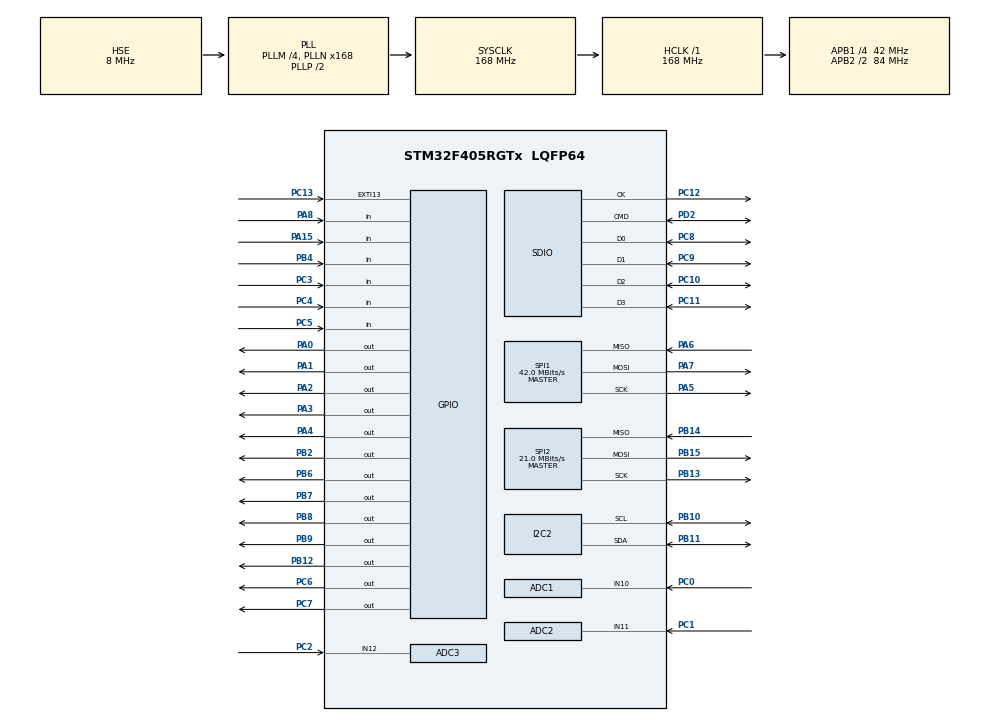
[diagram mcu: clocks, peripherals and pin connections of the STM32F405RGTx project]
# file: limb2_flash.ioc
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ADC1.Channel-0\#ChannelRegularConversion=ADC_CHANNEL_10
ADC1.NbrOfConversionFlag=1
ADC1.Rank-0\#ChannelRegularConversion=1
ADC1.SamplingTime-0\#ChannelRegularConversion=ADC_SAMPLETIME_3CYCLES
ADC1.master=1
ADC2.Channel-0\#ChannelRegularConversion=ADC_CHANNEL_11
ADC2.NbrOfConversionFlag=1
ADC2.Rank-0\#ChannelRegularConversion=1
ADC2.SamplingTime-0\#ChannelRegularConversion=ADC_SAMPLETIME_3CYCLES
ADC3.Channel-0\#ChannelRegularConversion=ADC_CHANNEL_12
ADC3.NbrOfConversion=1
ADC3.NbrOfConversionFlag=1
ADC3.Rank-0\#ChannelRegularConversion=1
ADC3.SamplingTime-0\#ChannelRegularConversion=ADC_SAMPLETIME_3CYCLES
Dma.Request0=SDIO
Dma.SDIO.0.Direction=DMA_PERIPH_TO_MEMORY
Dma.SDIO.0.FIFOMode=DMA_FIFOMODE_ENABLE
Dma.SDIO.0.FIFOThreshold=DMA_FIFO_THRESHOLD_FULL
Dma.SDIO.0.Instance=DMA2_Stream3
Dma.SDIO.0.MemBurst=DMA_MBURST_INC4
Dma.SDIO.0.MemDataAlignment=DMA_MDATAALIGN_WORD
Dma.SDIO.0.MemInc=DMA_MINC_ENABLE
Dma.SDIO.0.Mode=DMA_PFCTRL
Dma.SDIO.0.PeriphBurst=DMA_PBURST_INC4
Dma.SDIO.0.PeriphDataAlignment=DMA_PDATAALIGN_WORD
Dma.SDIO.0.PeriphInc=DMA_PINC_DISABLE
Dma.SDIO.0.Priority=DMA_PRIORITY_LOW
FATFS.BSP.number=1
FATFS._USE_FASTSEEK=0
FATFS0.BSP.STBoard=false
FATFS0.BSP.api=Unknown
FATFS0.BSP.i2caddr=0
FATFS0.BSP.instance=PC3
FATFS0.BSP.ip=GPIO
FATFS0.BSP.mode=Input
FATFS0.BSP.name=Detect_SDIO
FATFS0.BSP.solution=PC3
I2C2.I2C_Mode=I2C_Fast
Mcu.Family=STM32F4
Mcu.Name=STM32F405RGTx
Mcu.Package=LQFP64
NVIC.DMA2_Stream3_IRQn=true\:0\:0\:false\:false\:true\:false\:true
NVIC.EXTI15_10_IRQn=true\:0\:0\:false\:false\:true\:true\:true
NVIC.PriorityGroup=NVIC_PRIORITYGROUP_4
NVIC.SDIO_IRQn=true\:0\:0\:false\:false\:true\:true\:true
NVIC.TIM6_DAC_IRQn=true\:0\:0\:false\:false\:true\:true\:true
NVIC.TIM7_IRQn=true\:0\:0\:false\:false\:true\:true\:true
NVIC.TIM8_TRG_COM_TIM14_IRQn=true\:0\:0\:false\:false\:true\:true\:true
PA0-WKUP.Signal=GPIO_Output
PA1.Signal=GPIO_Output
PA13.Mode=Serial_Wire
PA13.Signal=SYS_JTMS-SWDIO
PA14.Mode=Serial_Wire
PA14.Signal=SYS_JTCK-SWCLK
PA15.Signal=GPIO_Input
PA2.Signal=GPIO_Output
PA3.Signal=GPIO_Output
PA4.GPIO_PuPd=GPIO_PULLUP
PA4.Signal=GPIO_Output
PA5.Mode=Full_Duplex_Master
PA5.Signal=SPI1_SCK
PA6.Mode=Full_Duplex_Master
PA6.Signal=SPI1_MISO
PA7.Mode=Full_Duplex_Master
PA7.Signal=SPI1_MOSI
PA8.Signal=GPIO_Input
PB10.Mode=I2C
PB10.Signal=I2C2_SCL
PB11.Mode=I2C
PB11.Signal=I2C2_SDA
PB12.Signal=GPIO_Output
PB13.Mode=Full_Duplex_Master
PB13.Signal=SPI2_SCK
PB14.Mode=Full_Duplex_Master
PB14.Signal=SPI2_MISO
PB15.Mode=Full_Duplex_Master
PB15.Signal=SPI2_MOSI
PB2.Signal=GPIO_Output
PB4.Signal=GPIO_Input
PB6.Signal=GPIO_Output
PB7.Signal=GPIO_Output
PB8.Signal=GPIO_Output
PB9.Signal=GPIO_Output
PC0.Signal=ADCx_IN10
PC1.Signal=ADCx_IN11
PC10.Mode=SD_4_bits_Wide_bus
PC10.Signal=SDIO_D2
PC11.Mode=SD_4_bits_Wide_bus
PC11.Signal=SDIO_D3
PC12.Mode=SD_4_bits_Wide_bus
PC12.Signal=SDIO_CK
PC13-ANTI_TAMP.GPIO_ModeDefaultEXTI=GPIO_MODE_IT_FALLING
PC13-ANTI_TAMP.Signal=GPXTI13
PC14-OSC32_IN.Mode=LSE-External-Oscillator
PC14-OSC32_IN.Signal=RCC_OSC32_IN
PC15-OSC32_OUT.Mode=LSE-External-Oscillator
PC15-OSC32_OUT.Signal=RCC_OSC32_OUT
PC2.Signal=ADCx_IN12
PC3.Signal=GPIO_Input
PC4.Signal=GPIO_Input
PC5.Signal=GPIO_Input
PC6.Signal=GPIO_Output
PC7.Signal=GPIO_Output
PC8.Mode=SD_4_bits_Wide_bus
PC8.Signal=SDIO_D0
PC9.Mode=SD_4_bits_Wide_bus
PC9.Signal=SDIO_D1
PD2.Mode=SD_4_bits_Wide_bus
PD2.Signal=SDIO_CMD
PH0-OSC_IN.Mode=HSE-External-Oscillator
PH0-OSC_IN.Signal=RCC_OSC_IN
PH1-OSC_OUT.Mode=HSE-External-Oscillator
PH1-OSC_OUT.Signal=RCC_OSC_OUT
ProjectManager.HeapSize=0x200
ProjectManager.StackSize=0x400
ProjectManager.TargetToolchain=STM32CubeIDE
RCC.48MHZClocksFreq_Value=48000000
RCC.AHBFreq_Value=168000000
RCC.APB1CLKDivider=RCC_HCLK_DIV4
RCC.APB1Freq_Value=42000000
RCC.APB1TimFreq_Value=84000000
RCC.APB2CLKDivider=RCC_HCLK_DIV2
RCC.APB2Freq_Value=84000000
RCC.APB2TimFreq_Value=168000000
RCC.CortexFreq_Value=168000000
RCC.HCLKFreq_Value=168000000
RCC.HSE_VALUE=8000000
RCC.HSI_VALUE=16000000
RCC.PLLM=4
RCC.PLLN=168
RCC.PLLQ=7
RCC.PLLSourceVirtual=RCC_PLLSOURCE_HSE
RCC.SYSCLKFreq_VALUE=168000000
RCC.SYSCLKSource=RCC_SYSCLKSOURCE_PLLCLK
RCC.VCOOutputFreq_Value=336000000
SDIO.ClockDiv=2
SDIO.HardwareFlowControl=SDIO_HARDWARE_FLOW_CONTROL_ENABLE
SH.ADCx_IN10.0=ADC1_IN10,IN10
SH.ADCx_IN11.0=ADC1_IN11
SH.ADCx_IN11.1=ADC2_IN11,IN11
SH.ADCx_IN12.0=ADC1_IN12
SH.ADCx_IN12.1=ADC3_IN12,IN12
SPI1.BaudRatePrescaler=SPI_BAUDRATEPRESCALER_2
SPI1.CalculateBaudRate=42.0 MBits/s
SPI1.Direction=SPI_DIRECTION_2LINES
SPI1.Mode=SPI_MODE_MASTER
SPI1.VirtualType=VM_MASTER
SPI2.BaudRatePrescaler=SPI_BAUDRATEPRESCALER_2
SPI2.CalculateBaudRate=21.0 MBits/s
SPI2.Direction=SPI_DIRECTION_2LINES
SPI2.Mode=SPI_MODE_MASTER
SPI2.VirtualType=VM_MASTER
TIM14.AutoReloadPreload=TIM_AUTORELOAD_PRELOAD_ENABLE
TIM14.Period=10499
TIM14.Prescaler=0
TIM6.AutoReloadPreload=TIM_AUTORELOAD_PRELOAD_ENABLE
TIM6.Period=2000
TIM6.Prescaler=83
TIM7.AutoReloadPreload=TIM_AUTORELOAD_PRELOAD_ENABLE
TIM7.Period=25000
TIM7.Prescaler=839
VP_FATFS_VS_SDIO.Mode=SDIO
VP_TIM14_VS_ClockSourceINT.Mode=Enable_Timer
VP_TIM6_VS_ClockSourceINT.Mode=Enable_Timer
VP_TIM7_VS_ClockSourceINT.Mode=Enable_Timer
board=custom

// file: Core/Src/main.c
/* USER CODE BEGIN Header */
/**
  ******************************************************************************
  * @file           : main.c
  * @brief          : Main program body
  ******************************************************************************
  * @attention
  *
  * <h2><center>&copy; Copyright (c) 2024 STMicroelectronics.
  * All rights reserved.</center></h2>
  *
  * This software component is licensed by ST under BSD 3-Clause license,
  * the "License"; You may not use this file except in compliance with the
  * License. You may obtain a copy of the License at:
  *                        opensource.org/licenses/BSD-3-Clause
  *
  ******************************************************************************
  */
/* USER CODE END Header */
#include "main.h"
#include "fatfs.h"

/* USER CODE BEGIN Includes */
#include "common.h"
#include "icm42670.h"
#include "files.h"
#include "w25q128.h"
#include <stdio.h>
#include <stdlib.h>
#include <string.h>
/* USER CODE END Includes */

ADC_HandleTypeDef hadc1;
ADC_HandleTypeDef hadc2;
ADC_HandleTypeDef hadc3;

I2C_HandleTypeDef hi2c2;

SD_HandleTypeDef hsd;
DMA_HandleTypeDef hdma_sdio;

SPI_HandleTypeDef hspi1;
SPI_HandleTypeDef hspi2;

TIM_HandleTypeDef htim6;
TIM_HandleTypeDef htim7;
TIM_HandleTypeDef htim14;

/* USER CODE BEGIN PV */
uint8_t board_version = 0;
__attribute__ ((aligned)) uint8_t flash_read_buf[W25Q128_PAGE_SIZE];
__attribute__ ((aligned)) uint8_t flash_write_buf[2][W25Q128_PAGE_SIZE];
__attribute__ ((aligned)) uint8_t csv_data_buf[CVS_DATA_SIZE_MAX];
int32_t cvs_data_len = 0;
PAGE_RAW *page_buf_read = NULL;
PAGE_RAW *page_buf_write = NULL;
uint32_t write_page_index = 0;
uint16_t file_index = 0;
W25Q128_T w25q128_info;
XYZ_INT16T xyz_accel_u, xyz_gyro_u, xyz_accel_l, xyz_gyro_l;

uint8_t motor_ctrl_input[2] = {0, 0};
/* USER CODE END PV */

void SystemClock_Config(void);
static void MX_GPIO_Init(void);
static void MX_ADC1_Init(void);
static void MX_I2C2_Init(void);
static void MX_SDIO_SD_Init(void);
static void MX_SPI1_Init(void);
static void MX_SPI2_Init(void);
static void MX_TIM7_Init(void);
static void MX_ADC2_Init(void);
static void MX_ADC3_Init(void);
static void MX_DMA_Init(void);
static void MX_TIM6_Init(void);
static void MX_TIM14_Init(void);

int main(void)
{
  /* USER CODE BEGIN 1 */
  set_state(NOT_READY);
  /* USER CODE END 1 */

  /* MCU Configuration--------------------------------------------------------*/

  /* Reset of all peripherals, Initializes the Flash interface and the Systick. */
  HAL_Init();

  /* Configure the system clock */
  SystemClock_Config();

  /* Initialize all configured peripherals */
  MX_GPIO_Init();
  MX_ADC1_Init();
  MX_I2C2_Init();
  MX_SDIO_SD_Init();
  MX_SPI1_Init();
  MX_SPI2_Init();
  MX_TIM7_Init();
  MX_ADC2_Init();
  MX_ADC3_Init();
  MX_DMA_Init();
  MX_FATFS_Init();
  MX_TIM6_Init();
  MX_TIM14_Init();
  /* USER CODE BEGIN 2 */
  HAL_TIM_Base_Start_IT(&htim6);
  HAL_TIM_Base_Start_IT(&htim7);
  w25q128_chip_deselect();

  uint8_t bufReadDiExp;
  if (tca9534Read(&hi2c2, &bufReadDiExp) != HAL_OK) {
    Error_Handler();
  }
  board_version = (bufReadDiExp & 0xE0) >> 5;
  set_sd_present(bufReadDiExp & 0x08);
  if (BSP_SD_IsDetected() == SD_NOT_PRESENT) {
    Error_Handler();
  }
  if(f_mount(&SDFatFS, (TCHAR const*)SDPath, 0) != FR_OK) {
    Error_Handler();
  }

  icm42670Init(&hi2c2, ICM42670U_DEFAULT_ADDRESS_SHIFTED);
  icm42670Init(&hi2c2, ICM42670L_DEFAULT_ADDRESS_SHIFTED);

  w25q128_init(&hspi2, &w25q128_info);
  if (w25q128_info.PageCount == 0) {
    Error_Handler();
  }
  /* USER CODE END 2 */

  /* Infinite loop */
  /* USER CODE BEGIN WHILE */
#define MOTOR_TEST_MODE 1
#ifdef MOTOR_TEST_MODE
  set_state(MOTOR_TEST);
#else
  w25q128_erase_chip(&hspi2);
  w25q128_wait_write_done(&hspi2);
  set_state(READY_IDLE);
#endif

  while (1)
  {
    /* USER CODE END WHILE */

    /* USER CODE BEGIN 3 */
    STATE state = check_state();
    switch (state) {
    case COLLECTING_DATA:
      page_buf_write = (PAGE_RAW*)flash_write_buf[write_page_index & 0x01];
      for (uint8_t record_index = 0; record_index < RECORD_PER_PAGE; record_index++) {
        wait_for_counter_changed();
        start_ADC(&hadc1, ADC_CHANNEL_10);  // PC1
        start_ADC(&hadc2, ADC_CHANNEL_11);  // PC2
        start_ADC(&hadc3, ADC_CHANNEL_12);  // PC3
        page_buf_write->data_raw_buffer[record_index].ad[0] = read_ADC(&hadc1);
        page_buf_write->data_raw_buffer[record_index].ad[1] = read_ADC(&hadc2);
        page_buf_write->data_raw_buffer[record_index].ad[2] = read_ADC(&hadc3);
        i2c_read_regs(&hi2c2, ICM42670U_DEFAULT_ADDRESS_SHIFTED, ICM42670_REG_ACCEL_DATA_X1, 6,
            page_buf_write->data_raw_buffer[record_index].accel_u);
        i2c_read_regs(&hi2c2, ICM42670U_DEFAULT_ADDRESS_SHIFTED, ICM42670_REG_GYRO_DATA_X1, 6,
            page_buf_write->data_raw_buffer[record_index].gyro_u);
        i2c_read_regs(&hi2c2, ICM42670L_DEFAULT_ADDRESS_SHIFTED, ICM42670_REG_ACCEL_DATA_X1, 6,
            page_buf_write->data_raw_buffer[record_index].accel_l);
        i2c_read_regs(&hi2c2, ICM42670L_DEFAULT_ADDRESS_SHIFTED, ICM42670_REG_GYRO_DATA_X1, 6,
            page_buf_write->data_raw_buffer[record_index].gyro_l);
      }
      w25q128_wait_write_done(&hspi2);
      w25q128_write(&hspi2, write_page_index << PAGE_ADDRESS_SHIFT, (uint8_t *)page_buf_write, W25Q128_PAGE_SIZE);
      ++write_page_index;
      if (write_page_index >= w25q128_info.PageCount) {
        set_state(SAVEING_TO_FILE);
      }
      break;
    case SAVEING_TO_FILE:
      file_index = get_file_index();
      if (file_index == 0) {
        set_state(NOT_READY);
        Error_Handler();
      }
      char data_file_name[16];
      snprintf(data_file_name, 15, "dr%06d.csv", file_index);
      if(f_open(&SDFile, data_file_name, FA_CREATE_ALWAYS | FA_WRITE) != FR_OK)
      {
        set_state(NOT_READY);
        Error_Handler();
      } else {
        cvs_data_len = snprintf(csv_data_buf, CVS_DATA_SIZE_MAX, "file,%d,,page,%ld,max,%ld,,records,%ld\r\n",
            file_index, write_page_index, w25q128_info.PageCount, write_page_index * RECORD_PER_PAGE);
        write_data_record(csv_data_buf, cvs_data_len);
        w25q128_wait_write_done(&hspi2);
        for (uint32_t read_page_index = 0; read_page_index < write_page_index; read_page_index++) {
          w25q128_read(&hspi2, read_page_index << PAGE_ADDRESS_SHIFT, flash_read_buf, W25Q128_PAGE_SIZE);
          page_buf_read = (PAGE_RAW*)flash_read_buf;
          for (uint8_t record_index = 0; record_index < RECORD_PER_PAGE; record_index++) {
            mpu_raw_to_xyz(page_buf_read->data_raw_buffer[record_index].accel_u, &xyz_accel_u);
            mpu_raw_to_xyz(page_buf_read->data_raw_buffer[record_index].gyro_u, &xyz_gyro_u);
            mpu_raw_to_xyz(page_buf_read->data_raw_buffer[record_index].accel_l, &xyz_accel_l);
            mpu_raw_to_xyz(page_buf_read->data_raw_buffer[record_index].gyro_l, &xyz_gyro_l);

            cvs_data_len = snprintf(csv_data_buf, CVS_DATA_SIZE_MAX,
            /*
             * gyro lower z -----------------------------------------
             * gyro lower y --------------------------------------   |
             * gyro lower x -----------------------------------   |  |
             * accel lower z -------------------------------   |  |  |
             * accel lower y ----------------------------   |  |  |  |
             * accel lower x -------------------------   |  |  |  |  |
             * gyro upper z -----------------------   |  |  |  |  |  |
             * gyro upper y --------------------   |  |  |  |  |  |  |
             * gyro upper x -----------------   |  |  |  |  |  |  |  |
             * accel upper z -------------   |  |  |  |  |  |  |  |  |
             * accel upper y ----------   |  |  |  |  |  |  |  |  |  |
             * accel upper x -------   |  |  |  |  |  |  |  |  |  |  |
             *   a1 a2 a3 a4 a5 a6  |  |  |  |  |  |  |  |  |  |  |  |
             *    |  |  |  |  |  |  |  |  |  |  |  |  |  |  |  |  |  |       */
                "%d,%d,%d,%d,%d,%d,%d,%d,%d,%d,%d,%d,%d,%d,%d,%d,%d,%d\r\n",
                page_buf_read->data_raw_buffer[record_index].ad[0],
                page_buf_read->data_raw_buffer[record_index].ad[1],
                page_buf_read->data_raw_buffer[record_index].ad[2],
                page_buf_read->data_raw_buffer[record_index].ad[3],
                page_buf_read->data_raw_buffer[record_index].ad[4],
                page_buf_read->data_raw_buffer[record_index].ad[5],
                xyz_accel_u.x, xyz_accel_u.y, xyz_accel_u.z, xyz_gyro_u.x, xyz_gyro_u.y, xyz_gyro_u.z,
                xyz_accel_l.x, xyz_accel_l.y, xyz_accel_l.z, xyz_gyro_l.x, xyz_gyro_l.y, xyz_gyro_l.z);
            write_data_record(csv_data_buf, cvs_data_len);
          }
        }
        f_close(&SDFile);
        w25q128_erase_chip(&hspi2);
        w25q128_wait_write_done(&hspi2);
        write_page_index = 0;
        set_state(READY_IDLE);
      }
      break;
    case MOTOR_TEST:
      switch (read_motor_cmd()) {
      case START:
        vm_en(GPIO_PIN_SET);
        if (tca9535Read(&hi2c2, motor_ctrl_input) == HAL_OK) {
          uint16_t pwm_timer_counter = cal_pwm_timer_counter(motor_ctrl_input[0] & 0x0F);
          __HAL_TIM_SET_AUTORELOAD(&htim14, pwm_timer_counter - 1);
          decide_motor_state((motor_ctrl_input[0] & 0xF0) >> 4, (motor_ctrl_input[1] & 0xF0) >> 4, (motor_ctrl_input[1] & 0x0F));
          motor_ctrl_str(0);
          motor_ctrl_ben(0);
          HAL_TIM_Base_Start_IT(&htim14);
        }
        if (tca9534Read(&hi2c2, &bufReadDiExp) == HAL_OK) {
          write_LEDGRN(bufReadDiExp & 0x04 ? GPIO_PIN_SET : GPIO_PIN_RESET); // VM good
        }
        break;
      case STOP:
        HAL_TIM_Base_Stop_IT(&htim14);
        motor_stop();
        vm_en(GPIO_PIN_RESET);
        if (tca9534Read(&hi2c2, &bufReadDiExp) == HAL_OK) {
          write_LEDGRN(bufReadDiExp & 0x04 ? GPIO_PIN_SET : GPIO_PIN_RESET); // VM good
        }
        break;
      case NO_CMD:
      default:
        break;
      }
      break;
    case NOT_READY:
    case READY_IDLE:
    default:
      break;
    }
  }
  /* USER CODE END 3 */
}

void SystemClock_Config(void)
{
  RCC_OscInitTypeDef RCC_OscInitStruct = {0};
  RCC_ClkInitTypeDef RCC_ClkInitStruct = {0};

  /** Configure the main internal regulator output voltage
  */
  __HAL_RCC_PWR_CLK_ENABLE();
  __HAL_PWR_VOLTAGESCALING_CONFIG(PWR_REGULATOR_VOLTAGE_SCALE1);
  /** Initializes the RCC Oscillators according to the specified parameters
  * in the RCC_OscInitTypeDef structure.
  */
  RCC_OscInitStruct.OscillatorType = RCC_OSCILLATORTYPE_HSE;
  RCC_OscInitStruct.HSEState = RCC_HSE_ON;
  RCC_OscInitStruct.PLL.PLLState = RCC_PLL_ON;
  RCC_OscInitStruct.PLL.PLLSource = RCC_PLLSOURCE_HSE;
  RCC_OscInitStruct.PLL.PLLM = 4;
  RCC_OscInitStruct.PLL.PLLN = 168;
  RCC_OscInitStruct.PLL.PLLP = RCC_PLLP_DIV2;
  RCC_OscInitStruct.PLL.PLLQ = 7;
  if (HAL_RCC_OscConfig(&RCC_OscInitStruct) != HAL_OK)
  {
    Error_Handler();
  }
  /** Initializes the CPU, AHB and APB buses clocks
  */
  RCC_ClkInitStruct.ClockType = RCC_CLOCKTYPE_HCLK|RCC_CLOCKTYPE_SYSCLK
                              |RCC_CLOCKTYPE_PCLK1|RCC_CLOCKTYPE_PCLK2;
  RCC_ClkInitStruct.SYSCLKSource = RCC_SYSCLKSOURCE_PLLCLK;
  RCC_ClkInitStruct.AHBCLKDivider = RCC_SYSCLK_DIV1;
  RCC_ClkInitStruct.APB1CLKDivider = RCC_HCLK_DIV4;
  RCC_ClkInitStruct.APB2CLKDivider = RCC_HCLK_DIV2;

  if (HAL_RCC_ClockConfig(&RCC_ClkInitStruct, FLASH_LATENCY_5) != HAL_OK)
  {
    Error_Handler();
  }
}

static void MX_ADC1_Init(void)
{

  ADC_ChannelConfTypeDef sConfig = {0};

  /** Configure the global features of the ADC (Clock, Resolution, Data Alignment and number of conversion)
  */
  hadc1.Instance = ADC1;
  hadc1.Init.ClockPrescaler = ADC_CLOCK_SYNC_PCLK_DIV4;
  hadc1.Init.Resolution = ADC_RESOLUTION_12B;
  hadc1.Init.ScanConvMode = DISABLE;
  hadc1.Init.ContinuousConvMode = DISABLE;
  hadc1.Init.DiscontinuousConvMode = DISABLE;
  hadc1.Init.ExternalTrigConvEdge = ADC_EXTERNALTRIGCONVEDGE_NONE;
  hadc1.Init.ExternalTrigConv = ADC_SOFTWARE_START;
  hadc1.Init.DataAlign = ADC_DATAALIGN_RIGHT;
  hadc1.Init.NbrOfConversion = 1;
  hadc1.Init.DMAContinuousRequests = DISABLE;
  hadc1.Init.EOCSelection = ADC_EOC_SINGLE_CONV;
  if (HAL_ADC_Init(&hadc1) != HAL_OK)
  {
    Error_Handler();
  }
  /** Configure for the selected ADC regular channel its corresponding rank in the sequencer and its sample time.
  */
  sConfig.Channel = ADC_CHANNEL_10;
  sConfig.Rank = 1;
  sConfig.SamplingTime = ADC_SAMPLETIME_3CYCLES;
  if (HAL_ADC_ConfigChannel(&hadc1, &sConfig) != HAL_OK)
  {
    Error_Handler();
  }

}

static void MX_ADC2_Init(void)
{

  ADC_ChannelConfTypeDef sConfig = {0};

  /** Configure the global features of the ADC (Clock, Resolution, Data Alignment and number of conversion)
  */
  hadc2.Instance = ADC2;
  hadc2.Init.ClockPrescaler = ADC_CLOCK_SYNC_PCLK_DIV4;
  hadc2.Init.Resolution = ADC_RESOLUTION_12B;
  hadc2.Init.ScanConvMode = DISABLE;
  hadc2.Init.ContinuousConvMode = DISABLE;
  hadc2.Init.DiscontinuousConvMode = DISABLE;
  hadc2.Init.ExternalTrigConvEdge = ADC_EXTERNALTRIGCONVEDGE_NONE;
  hadc2.Init.ExternalTrigConv = ADC_SOFTWARE_START;
  hadc2.Init.DataAlign = ADC_DATAALIGN_RIGHT;
  hadc2.Init.NbrOfConversion = 1;
  hadc2.Init.DMAContinuousRequests = DISABLE;
  hadc2.Init.EOCSelection = ADC_EOC_SINGLE_CONV;
  if (HAL_ADC_Init(&hadc2) != HAL_OK)
  {
    Error_Handler();
  }
  /** Configure for the selected ADC regular channel its corresponding rank in the sequencer and its sample time.
  */
  sConfig.Channel = ADC_CHANNEL_11;
  sConfig.Rank = 1;
  sConfig.SamplingTime = ADC_SAMPLETIME_3CYCLES;
  if (HAL_ADC_ConfigChannel(&hadc2, &sConfig) != HAL_OK)
  {
    Error_Handler();
  }

}

static void MX_ADC3_Init(void)
{

  ADC_ChannelConfTypeDef sConfig = {0};

  /** Configure the global features of the ADC (Clock, Resolution, Data Alignment and number of conversion)
  */
  hadc3.Instance = ADC3;
  hadc3.Init.ClockPrescaler = ADC_CLOCK_SYNC_PCLK_DIV4;
  hadc3.Init.Resolution = ADC_RESOLUTION_12B;
  hadc3.Init.ScanConvMode = DISABLE;
  hadc3.Init.ContinuousConvMode = DISABLE;
  hadc3.Init.DiscontinuousConvMode = DISABLE;
  hadc3.Init.ExternalTrigConvEdge = ADC_EXTERNALTRIGCONVEDGE_NONE;
  hadc3.Init.ExternalTrigConv = ADC_SOFTWARE_START;
  hadc3.Init.DataAlign = ADC_DATAALIGN_RIGHT;
  hadc3.Init.NbrOfConversion = 1;
  hadc3.Init.DMAContinuousRequests = DISABLE;
  hadc3.Init.EOCSelection = ADC_EOC_SINGLE_CONV;
  if (HAL_ADC_Init(&hadc3) != HAL_OK)
  {
    Error_Handler();
  }
  /** Configure for the selected ADC regular channel its corresponding rank in the sequencer and its sample time.
  */
  sConfig.Channel = ADC_CHANNEL_12;
  sConfig.Rank = 1;
  sConfig.SamplingTime = ADC_SAMPLETIME_3CYCLES;
  if (HAL_ADC_ConfigChannel(&hadc3, &sConfig) != HAL_OK)
  {
    Error_Handler();
  }

}

static void MX_I2C2_Init(void)
{

  hi2c2.Instance = I2C2;
  hi2c2.Init.ClockSpeed = 400000;
  hi2c2.Init.DutyCycle = I2C_DUTYCYCLE_2;
  hi2c2.Init.OwnAddress1 = 0;
  hi2c2.Init.AddressingMode = I2C_ADDRESSINGMODE_7BIT;
  hi2c2.Init.DualAddressMode = I2C_DUALADDRESS_DISABLE;
  hi2c2.Init.OwnAddress2 = 0;
  hi2c2.Init.GeneralCallMode = I2C_GENERALCALL_DISABLE;
  hi2c2.Init.NoStretchMode = I2C_NOSTRETCH_DISABLE;
  if (HAL_I2C_Init(&hi2c2) != HAL_OK)
  {
    Error_Handler();
  }

}

static void MX_SDIO_SD_Init(void)
{

  hsd.Instance = SDIO;
  hsd.Init.ClockEdge = SDIO_CLOCK_EDGE_RISING;
  hsd.Init.ClockBypass = SDIO_CLOCK_BYPASS_DISABLE;
  hsd.Init.ClockPowerSave = SDIO_CLOCK_POWER_SAVE_DISABLE;
  hsd.Init.BusWide = SDIO_BUS_WIDE_1B;
  hsd.Init.HardwareFlowControl = SDIO_HARDWARE_FLOW_CONTROL_ENABLE;
  hsd.Init.ClockDiv = 2;

}

static void MX_SPI1_Init(void)
{

  /* SPI1 parameter configuration*/
  hspi1.Instance = SPI1;
  hspi1.Init.Mode = SPI_MODE_MASTER;
  hspi1.Init.Direction = SPI_DIRECTION_2LINES;
  hspi1.Init.DataSize = SPI_DATASIZE_8BIT;
  hspi1.Init.CLKPolarity = SPI_POLARITY_LOW;
  hspi1.Init.CLKPhase = SPI_PHASE_1EDGE;
  hspi1.Init.NSS = SPI_NSS_SOFT;
  hspi1.Init.BaudRatePrescaler = SPI_BAUDRATEPRESCALER_2;
  hspi1.Init.FirstBit = SPI_FIRSTBIT_MSB;
  hspi1.Init.TIMode = SPI_TIMODE_DISABLE;
  hspi1.Init.CRCCalculation = SPI_CRCCALCULATION_DISABLE;
  hspi1.Init.CRCPolynomial = 10;
  if (HAL_SPI_Init(&hspi1) != HAL_OK)
  {
    Error_Handler();
  }

}

static void MX_SPI2_Init(void)
{

  /* SPI2 parameter configuration*/
  hspi2.Instance = SPI2;
  hspi2.Init.Mode = SPI_MODE_MASTER;
  hspi2.Init.Direction = SPI_DIRECTION_2LINES;
  hspi2.Init.DataSize = SPI_DATASIZE_8BIT;
  hspi2.Init.CLKPolarity = SPI_POLARITY_LOW;
  hspi2.Init.CLKPhase = SPI_PHASE_1EDGE;
  hspi2.Init.NSS = SPI_NSS_SOFT;
  hspi2.Init.BaudRatePrescaler = SPI_BAUDRATEPRESCALER_2;
  hspi2.Init.FirstBit = SPI_FIRSTBIT_MSB;
  hspi2.Init.TIMode = SPI_TIMODE_DISABLE;
  hspi2.Init.CRCCalculation = SPI_CRCCALCULATION_DISABLE;
  hspi2.Init.CRCPolynomial = 10;
  if (HAL_SPI_Init(&hspi2) != HAL_OK)
  {
    Error_Handler();
  }

}

static void MX_TIM6_Init(void)
{

  TIM_MasterConfigTypeDef sMasterConfig = {0};

  htim6.Instance = TIM6;
  htim6.Init.Prescaler = 83;
  htim6.Init.CounterMode = TIM_COUNTERMODE_UP;
  htim6.Init.Period = 2000;
  htim6.Init.AutoReloadPreload = TIM_AUTORELOAD_PRELOAD_ENABLE;
  if (HAL_TIM_Base_Init(&htim6) != HAL_OK)
  {
    Error_Handler();
  }
  sMasterConfig.MasterOutputTrigger = TIM_TRGO_RESET;
  sMasterConfig.MasterSlaveMode = TIM_MASTERSLAVEMODE_DISABLE;
  if (HAL_TIMEx_MasterConfigSynchronization(&htim6, &sMasterConfig) != HAL_OK)
  {
    Error_Handler();
  }

}

static void MX_TIM7_Init(void)
{

  TIM_MasterConfigTypeDef sMasterConfig = {0};

  htim7.Instance = TIM7;
  htim7.Init.Prescaler = 839;
  htim7.Init.CounterMode = TIM_COUNTERMODE_UP;
  htim7.Init.Period = 25000;
  htim7.Init.AutoReloadPreload = TIM_AUTORELOAD_PRELOAD_ENABLE;
  if (HAL_TIM_Base_Init(&htim7) != HAL_OK)
  {
    Error_Handler();
  }
  sMasterConfig.MasterOutputTrigger = TIM_TRGO_RESET;
  sMasterConfig.MasterSlaveMode = TIM_MASTERSLAVEMODE_DISABLE;
  if (HAL_TIMEx_MasterConfigSynchronization(&htim7, &sMasterConfig) != HAL_OK)
  {
    Error_Handler();
  }

}

static void MX_TIM14_Init(void)
{

  htim14.Instance = TIM14;
  htim14.Init.Prescaler = 3;
  htim14.Init.CounterMode = TIM_COUNTERMODE_UP;
  htim14.Init.Period = 10499;
  htim14.Init.ClockDivision = TIM_CLOCKDIVISION_DIV1;
  htim14.Init.AutoReloadPreload = TIM_AUTORELOAD_PRELOAD_ENABLE;
  if (HAL_TIM_Base_Init(&htim14) != HAL_OK)
  {
    Error_Handler();
  }

}

static void MX_DMA_Init(void)
{

  /* DMA controller clock enable */
  __HAL_RCC_DMA2_CLK_ENABLE();

  /* DMA interrupt init */
  /* DMA2_Stream3_IRQn interrupt configuration */
  HAL_NVIC_SetPriority(DMA2_Stream3_IRQn, 0, 0);
  HAL_NVIC_EnableIRQ(DMA2_Stream3_IRQn);

}

static void MX_GPIO_Init(void)
{
  GPIO_InitTypeDef GPIO_InitStruct = {0};

  /* GPIO Ports Clock Enable */
  __HAL_RCC_GPIOC_CLK_ENABLE();
  __HAL_RCC_GPIOH_CLK_ENABLE();
  __HAL_RCC_GPIOA_CLK_ENABLE();
  __HAL_RCC_GPIOB_CLK_ENABLE();
  __HAL_RCC_GPIOD_CLK_ENABLE();

  /*Configure GPIO pin Output Level */
  HAL_GPIO_WritePin(GPIOA, GPIO_PIN_0|GPIO_PIN_1|GPIO_PIN_2|GPIO_PIN_3
                          |GPIO_PIN_4, GPIO_PIN_RESET);

  /*Configure GPIO pin Output Level */
  HAL_GPIO_WritePin(GPIOB, GPIO_PIN_2|GPIO_PIN_12|GPIO_PIN_6|GPIO_PIN_7
                          |GPIO_PIN_8|GPIO_PIN_9, GPIO_PIN_RESET);

  /*Configure GPIO pin Output Level */
  HAL_GPIO_WritePin(GPIOC, GPIO_PIN_6|GPIO_PIN_7, GPIO_PIN_RESET);

  /*Configure GPIO pin : PC13 */
  GPIO_InitStruct.Pin = GPIO_PIN_13;
  GPIO_InitStruct.Mode = GPIO_MODE_IT_FALLING;
  GPIO_InitStruct.Pull = GPIO_NOPULL;
  HAL_GPIO_Init(GPIOC, &GPIO_InitStruct);

  /*Configure GPIO pins : PC3 PC4 PC5 */
  GPIO_InitStruct.Pin = GPIO_PIN_3|GPIO_PIN_4|GPIO_PIN_5;
  GPIO_InitStruct.Mode = GPIO_MODE_INPUT;
  GPIO_InitStruct.Pull = GPIO_NOPULL;
  HAL_GPIO_Init(GPIOC, &GPIO_InitStruct);

  /*Configure GPIO pins : PA0 PA1 PA2 PA3 */
  GPIO_InitStruct.Pin = GPIO_PIN_0|GPIO_PIN_1|GPIO_PIN_2|GPIO_PIN_3;
  GPIO_InitStruct.Mode = GPIO_MODE_OUTPUT_PP;
  GPIO_InitStruct.Pull = GPIO_NOPULL;
  GPIO_InitStruct.Speed = GPIO_SPEED_FREQ_LOW;
  HAL_GPIO_Init(GPIOA, &GPIO_InitStruct);

  /*Configure GPIO pin : PA4 */
  GPIO_InitStruct.Pin = GPIO_PIN_4;
  GPIO_InitStruct.Mode = GPIO_MODE_OUTPUT_PP;
  GPIO_InitStruct.Pull = GPIO_PULLUP;
  GPIO_InitStruct.Speed = GPIO_SPEED_FREQ_LOW;
  HAL_GPIO_Init(GPIOA, &GPIO_InitStruct);

  /*Configure GPIO pins : PB2 PB12 PB6 PB7
                           PB8 PB9 */
  GPIO_InitStruct.Pin = GPIO_PIN_2|GPIO_PIN_12|GPIO_PIN_6|GPIO_PIN_7
                          |GPIO_PIN_8|GPIO_PIN_9;
  GPIO_InitStruct.Mode = GPIO_MODE_OUTPUT_PP;
  GPIO_InitStruct.Pull = GPIO_NOPULL;
  GPIO_InitStruct.Speed = GPIO_SPEED_FREQ_LOW;
  HAL_GPIO_Init(GPIOB, &GPIO_InitStruct);

  /*Configure GPIO pins : PC6 PC7 */
  GPIO_InitStruct.Pin = GPIO_PIN_6|GPIO_PIN_7;
  GPIO_InitStruct.Mode = GPIO_MODE_OUTPUT_PP;
  GPIO_InitStruct.Pull = GPIO_NOPULL;
  GPIO_InitStruct.Speed = GPIO_SPEED_FREQ_LOW;
  HAL_GPIO_Init(GPIOC, &GPIO_InitStruct);

  /*Configure GPIO pins : PA8 PA15 */
  GPIO_InitStruct.Pin = GPIO_PIN_8|GPIO_PIN_15;
  GPIO_InitStruct.Mode = GPIO_MODE_INPUT;
  GPIO_InitStruct.Pull = GPIO_NOPULL;
  HAL_GPIO_Init(GPIOA, &GPIO_InitStruct);

  /*Configure GPIO pin : PB4 */
  GPIO_InitStruct.Pin = GPIO_PIN_4;
  GPIO_InitStruct.Mode = GPIO_MODE_INPUT;
  GPIO_InitStruct.Pull = GPIO_NOPULL;
  HAL_GPIO_Init(GPIOB, &GPIO_InitStruct);

  /* EXTI interrupt init*/
  HAL_NVIC_SetPriority(EXTI15_10_IRQn, 0, 0);
  HAL_NVIC_EnableIRQ(EXTI15_10_IRQn);

}

void Error_Handler(void)
{
  /* USER CODE BEGIN Error_Handler_Debug */
  /* User can add his own implementation to report the HAL error return state */
  __disable_irq();
  write_LEDRED(GPIO_PIN_SET);
  while (1)
  {
  }
  /* USER CODE END Error_Handler_Debug */
}

/************************ (C) COPYRIGHT STMicroelectronics *****END OF FILE****/
